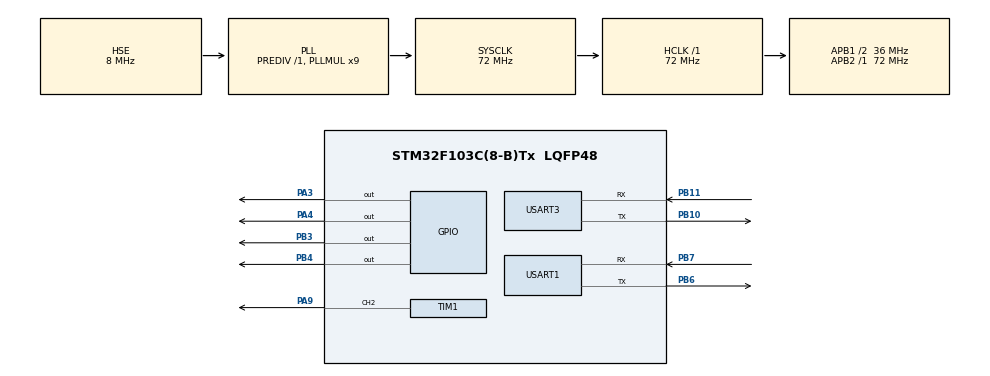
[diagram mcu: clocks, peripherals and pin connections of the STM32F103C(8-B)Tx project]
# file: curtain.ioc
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Dma.Request0=USART3_RX
Dma.Request1=USART3_TX
Dma.Request2=USART1_RX
Dma.Request3=USART1_TX
Dma.USART1_RX.2.Direction=DMA_PERIPH_TO_MEMORY
Dma.USART1_RX.2.Instance=DMA1_Channel5
Dma.USART1_RX.2.MemDataAlignment=DMA_MDATAALIGN_BYTE
Dma.USART1_RX.2.MemInc=DMA_MINC_ENABLE
Dma.USART1_RX.2.Mode=DMA_CIRCULAR
Dma.USART1_RX.2.PeriphDataAlignment=DMA_PDATAALIGN_BYTE
Dma.USART1_RX.2.PeriphInc=DMA_PINC_DISABLE
Dma.USART1_RX.2.Priority=DMA_PRIORITY_LOW
Dma.USART1_TX.3.Direction=DMA_MEMORY_TO_PERIPH
Dma.USART1_TX.3.Instance=DMA1_Channel4
Dma.USART1_TX.3.MemDataAlignment=DMA_MDATAALIGN_BYTE
Dma.USART1_TX.3.MemInc=DMA_MINC_ENABLE
Dma.USART1_TX.3.Mode=DMA_NORMAL
Dma.USART1_TX.3.PeriphDataAlignment=DMA_PDATAALIGN_BYTE
Dma.USART1_TX.3.PeriphInc=DMA_PINC_DISABLE
Dma.USART1_TX.3.Priority=DMA_PRIORITY_LOW
Dma.USART3_RX.0.Direction=DMA_PERIPH_TO_MEMORY
Dma.USART3_RX.0.Instance=DMA1_Channel3
Dma.USART3_RX.0.MemDataAlignment=DMA_MDATAALIGN_BYTE
Dma.USART3_RX.0.MemInc=DMA_MINC_ENABLE
Dma.USART3_RX.0.Mode=DMA_CIRCULAR
Dma.USART3_RX.0.PeriphDataAlignment=DMA_PDATAALIGN_BYTE
Dma.USART3_RX.0.PeriphInc=DMA_PINC_DISABLE
Dma.USART3_RX.0.Priority=DMA_PRIORITY_LOW
Dma.USART3_TX.1.Direction=DMA_MEMORY_TO_PERIPH
Dma.USART3_TX.1.Instance=DMA1_Channel2
Dma.USART3_TX.1.MemDataAlignment=DMA_MDATAALIGN_BYTE
Dma.USART3_TX.1.MemInc=DMA_MINC_ENABLE
Dma.USART3_TX.1.Mode=DMA_NORMAL
Dma.USART3_TX.1.PeriphDataAlignment=DMA_PDATAALIGN_BYTE
Dma.USART3_TX.1.PeriphInc=DMA_PINC_DISABLE
Dma.USART3_TX.1.Priority=DMA_PRIORITY_LOW
Mcu.Family=STM32F1
Mcu.Name=STM32F103C(8-B)Tx
Mcu.Package=LQFP48
NVIC.DMA1_Channel2_IRQn=true\:0\:0\:false\:false\:true\:false\:true
NVIC.DMA1_Channel3_IRQn=true\:0\:0\:false\:false\:true\:false\:true
NVIC.DMA1_Channel4_IRQn=true\:0\:0\:false\:false\:true\:false\:true
NVIC.DMA1_Channel5_IRQn=true\:0\:0\:false\:false\:true\:false\:true
NVIC.PriorityGroup=NVIC_PRIORITYGROUP_4
NVIC.TIM1_BRK_IRQn=true\:0\:0\:false\:false\:true\:true\:true
NVIC.TIM1_CC_IRQn=true\:0\:0\:false\:false\:true\:true\:true
NVIC.TIM1_TRG_COM_IRQn=true\:0\:0\:false\:false\:true\:true\:true
NVIC.TIM1_UP_IRQn=true\:0\:0\:false\:false\:true\:true\:true
NVIC.USART1_IRQn=true\:1\:0\:true\:false\:true\:true\:true
NVIC.USART3_IRQn=true\:2\:0\:true\:false\:true\:true\:true
PA13.Mode=Serial_Wire
PA13.Signal=SYS_JTMS-SWDIO
PA14.Mode=Serial_Wire
PA14.Signal=SYS_JTCK-SWCLK
PA3.Signal=GPIO_Output
PA4.Signal=GPIO_Output
PA9.Signal=S_TIM1_CH2
PB10.Mode=Asynchronous
PB10.Signal=USART3_TX
PB11.Mode=Asynchronous
PB11.Signal=USART3_RX
PB3.PinState=GPIO_PIN_SET
PB3.Signal=GPIO_Output
PB4.PinState=GPIO_PIN_SET
PB4.Signal=GPIO_Output
PB6.Mode=Asynchronous
PB6.Signal=USART1_TX
PB7.Mode=Asynchronous
PB7.Signal=USART1_RX
PD0-OSC_IN.Mode=HSE-External-Oscillator
PD0-OSC_IN.Signal=RCC_OSC_IN
PD1-OSC_OUT.Mode=HSE-External-Oscillator
PD1-OSC_OUT.Signal=RCC_OSC_OUT
ProjectManager.HeapSize=0x200
ProjectManager.StackSize=0x400
ProjectManager.TargetToolchain=STM32CubeIDE
RCC.AHBFreq_Value=72000000
RCC.APB1CLKDivider=RCC_HCLK_DIV2
RCC.APB1Freq_Value=36000000
RCC.APB1TimFreq_Value=72000000
RCC.APB2Freq_Value=72000000
RCC.APB2TimFreq_Value=72000000
RCC.HCLKFreq_Value=72000000
RCC.PLLMUL=RCC_PLL_MUL9
RCC.PLLSourceVirtual=RCC_PLLSOURCE_HSE
RCC.SYSCLKFreq_VALUE=72000000
RCC.SYSCLKSource=RCC_SYSCLKSOURCE_PLLCLK
RCC.USBFreq_Value=72000000
SH.S_TIM1_CH2.0=TIM1_CH2,PWM Generation2 CH2
TIM1.Channel-PWM\ Generation2\ CH2=TIM_CHANNEL_2
TIM1.Period=100-1
TIM1.Prescaler=900-1
USART1.VirtualMode=VM_ASYNC
USART3.VirtualMode=VM_ASYNC
VP_TIM1_VS_ClockSourceINT.Mode=Internal
board=custom

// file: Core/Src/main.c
/* USER CODE BEGIN Header */
/**
  ******************************************************************************
  * @file           : main.c
  * @brief          : Main program body
  ******************************************************************************
  * @attention
  *
  * <h2><center>&copy; Copyright (c) 2020 STMicroelectronics.
  * All rights reserved.</center></h2>
  *
  * This software component is licensed by ST under BSD 3-Clause license,
  * the "License"; You may not use this file except in compliance with the
  * License. You may obtain a copy of the License at:
  *                        opensource.org/licenses/BSD-3-Clause
  *
  ******************************************************************************
  */
/* USER CODE END Header */

#include "main.h"

/* USER CODE BEGIN Includes */
#include "stdio.h"
#include "math.h"
/* USER CODE END Includes */

/* USER CODE BEGIN PD */

// 定义预分频后的频率
#define PRESCALER_FREQ 80000

// 用于串口输出到ZigBee的数组的大小
#define UART_ZB_BUF_SIZE 10
// 用于串口输出到Log的数组大小
#define UART_LOG_BUF_SIZE 128

// ZigBee 发送数据长度
#define ZB_SEND_DATA_LEN 8
// ZigBee 接收数据长度
#define ZB_RECEIVE_DATA_LEN 5

// 串口输出到ZigBee，DMA方式
#define sendToZBByDMA(...) HAL_UART_Transmit_DMA(&huart1,\
										(uint8_t*)uart_ZB_buf,\
										sprintf(uart_ZB_buf, __VA_ARGS__))
// 串口输出到ZigBee，IT方式
#define sendToZBByIT(...) HAL_UART_Transmit_IT(&huart1,\
										(uint8_t*)uart_ZB_buf,\
										sprintf(uart_ZB_buf, __VA_ARGS__))
// 串口输出到Log，DMA方式
#define sendToLogByDMA(...) HAL_UART_Transmit_DMA(&huart3,\
										(uint8_t*)uart_log_buf,\
										sprintf(uart_log_buf, __VA_ARGS__))
// 串口输出到Log，IT方式
#define sendToLogByIT(...) HAL_UART_Transmit_IT(&huart3,\
										(uint8_t*)uart_log_buf,\
										sprintf(uart_log_buf, __VA_ARGS__))
/* USER CODE END PD */

TIM_HandleTypeDef htim1;

UART_HandleTypeDef huart1;
UART_HandleTypeDef huart3;
DMA_HandleTypeDef hdma_usart1_rx;
DMA_HandleTypeDef hdma_usart1_tx;
DMA_HandleTypeDef hdma_usart3_rx;
DMA_HandleTypeDef hdma_usart3_tx;

/* USER CODE BEGIN PV */

// 设备地址
const char DEVICE_ADDRESS = 'd';
// 设备类型
const char DEVICE_TYPE = 'c';
// 配对码
const char DEVICE_PAIR = 'o';

const uint8_t FULL_CIRCLE = 52;

// 上次执行的命令代码
char cmd_idx = 0;

// 指示窗帘的状态
char status = 'a';

char sce[3] = {'b'};

// 用于输出指定数量的pwm波
uint32_t pwm_counter = 0;
// 用于指定当前输出的pwm的数量
uint32_t pwm_counter_idx = 0;
// 用于指示步进电机工作状态
uint8_t motor_on = 0;

// ZigBee接收到数据的标志
uint8_t is_ZB_rec = 0;
// ZigBee接收数据缓存
uint8_t ZB_rec_buf[ZB_RECEIVE_DATA_LEN];

// 用于串口输出到ZigBee的数组的大小
char uart_ZB_buf[UART_ZB_BUF_SIZE];
char zb_send[UART_ZB_BUF_SIZE];

// 用于串口输出到Log的数组
char uart_log_buf[UART_LOG_BUF_SIZE];

/* USER CODE END PV */

void SystemClock_Config(void);
static void MX_GPIO_Init(void);
static void MX_DMA_Init(void);
static void MX_TIM1_Init(void);
static void MX_USART1_UART_Init(void);
static void MX_USART3_UART_Init(void);
/* USER CODE BEGIN PFP */
uint8_t stepper_motor_contoler(uint8_t enable, uint8_t direction, uint16_t distance, uint8_t frequence);
void copyMat(uint8_t *a, uint8_t *b, uint8_t len);

/* USER CODE END PFP */

/* USER CODE BEGIN 0 */

/**
 * 步进电机的驱动设置为4细分，即每800个波形电机转一圈，TIM1的频率为72MHz,Prescaler为900-1,则分频后频率为80KHz
 *
 * @Param: enable: 电机是否允许空转，取0时不允许，取1时允许
 * @Param: direction: 取0时正转，取1时反转
 * @Param: distance: 电机总共转的半圈数
 * @Param: frequence: 电机转动频率，可取1-100，为了准确最好取可以被100整除的数字, 1代表半圈
 *
 * @Return: 0-没走， 1-开始走
 */
uint8_t stepper_motor_contoler(uint8_t enable, uint8_t direction, uint16_t distance, uint8_t frequence){
	if(distance == 0){
		return 0;
	}
	motor_on = 1;
	pwm_counter_idx = 0;
	// 控制点击是否允许空转
	if(enable == 0){
		HAL_GPIO_WritePin(GPIOA, GPIO_PIN_3, GPIO_PIN_SET);
	}else{
		HAL_GPIO_WritePin(GPIOA, GPIO_PIN_3, GPIO_PIN_RESET);
	}
	// 控制电机正转或反转
	if(direction == 0){
		HAL_GPIO_WritePin(GPIOA, GPIO_PIN_4, GPIO_PIN_SET);
	}else{
		HAL_GPIO_WritePin(GPIOA, GPIO_PIN_4, GPIO_PIN_RESET);
	}
	uint8_t reg_freq = 0;
	// reg_freq = 100 / frequecne;
	reg_freq = 200 / frequence;
	// 控制步进电机的转速
	TIM1->ARR = reg_freq-1;
	TIM1->CCR2 = (uint8_t)(reg_freq * 0.5);

	// 由上述可知，计时器的频率为 80K/reg_freq，则步进电机共走的圈数为T*frequence，同时n = T * f = T * 80K / ( 100 / frequence)
	// 控制电机走的圈数
	pwm_counter = distance * 200;
	// pwm_counter = distance * 800;

	// 开启时钟中断
	if(HAL_OK != HAL_TIM_Base_Start_IT(&htim1))
		Error_Handler();

	// 开启电机的PWM输出
	if(HAL_OK != HAL_TIM_PWM_Start(&htim1, TIM_CHANNEL_2))
		Error_Handler();

	return 1;
}

// 复制数组
void copyMat(uint8_t *a, uint8_t *b, uint8_t len){
	for(int i = 0; i< len; i++){
		b[i] = a[i];
	}
}

/* USER CODE END 0 */

int main(void)
{

  /* MCU Configuration--------------------------------------------------------*/

  /* Reset of all peripherals, Initializes the Flash interface and the Systick. */
  HAL_Init();

  /* Configure the system clock */
  SystemClock_Config();

  /* Initialize all configured peripherals */
  MX_GPIO_Init();
  MX_DMA_Init();
  MX_TIM1_Init();
  MX_USART1_UART_Init();
  MX_USART3_UART_Init();
  /* USER CODE BEGIN 2 */

  // 串口1使用DMA方式循环接收数据
  HAL_UART_Receive_DMA(&huart1,\
		  	  	  	   ZB_rec_buf,\
  					   ZB_RECEIVE_DATA_LEN);

  sendToLogByDMA("init curtain\n");
  HAL_Delay(50);
  sendToLogByDMA("%c\n", DEVICE_ADDRESS);
  /* USER CODE END 2 */

  /* Infinite loop */
  /* USER CODE BEGIN WHILE */
  uint8_t zb_cache[ZB_RECEIVE_DATA_LEN] = {0};
  while (1)
  {
	  // ZigBee接收到指令
	  if(is_ZB_rec == 1){
		  // sendToLogByDMA("zb get data! %c, %c, %c, %c, %c\n", ZB_rec_buf[0], ZB_rec_buf[1], ZB_rec_buf[2], ZB_rec_buf[3], ZB_rec_buf[4]);
		  // HAL_Delay(50);
		  // 将指令复制到cache
	  	  copyMat(ZB_rec_buf, zb_cache, ZB_RECEIVE_DATA_LEN);
	  	  is_ZB_rec = 0;
	  	  // 若已近处理则抛弃
	  	  if(zb_cache[1] == cmd_idx){
	  		  continue;
	  	  }else{
	  		  cmd_idx = zb_cache[1];
			  // sendToLogByDMA("zb get data!\n");
			  // HAL_Delay(50);
	  		  // 处理指令，配对
	  		  if(zb_cache[2] == 'a'){
	  			  if((DEVICE_PAIR == zb_cache[3]) && (DEVICE_TYPE == zb_cache[4])){
	  				  zb_send[2] = 'T';
	  			  }else{
	  				  zb_send[2] = 'F';
	  			  }
	  			  zb_send[0] = DEVICE_ADDRESS;
	  			  zb_send[1] = cmd_idx;
	  			  zb_send[3] = '|';
				  sendToLogByDMA("zb send data!\n");
				  HAL_Delay(50);
	  			  sendToZBByDMA(zb_send);
	  		  // 处理指令，控制窗帘的状态
	  		  }else if(zb_cache[2] == 'o'){
	  			  uint8_t circle = 0;
	  			  uint8_t dir = 0;
	  			  // 全部打开
	  			  if(zb_cache[3] == 'a'){
	  				  dir = 0;
	  				  if(status == 'a'){
	  					  circle = 0;
	  				  }else if(status == 'c'){
	  					  circle = FULL_CIRCLE/2;
	  				  }else if(status == 'e'){
	  					  circle = FULL_CIRCLE;
	  				  }
	  				  status = 'a';
	  			  // 打开一半
	  			  }else if(zb_cache[3] == 'c'){
	  				  if(status == 'a'){
	  					  circle = FULL_CIRCLE/2;
	  					  dir = 1;
	  				  }else if(status == 'c'){
	  					  circle = 0;
	  					  dir = 0;
	  				  }else if(status == 'e'){
	  					  circle = FULL_CIRCLE/2;
	  					  dir = 0;
	  				  }
	  				  status = 'c';
	  			  // 全部关闭
	  			  }else if(zb_cache[3] == 'e'){
	  				  dir = 1;
	  				  if(status == 'a'){
	  					  circle = FULL_CIRCLE;
	  				  }else if(status == 'c'){
	  					  circle = FULL_CIRCLE/2;
	  				  }else if(status == 'e'){
	  					  circle = 0;
	  				  }
	  				  status = 'e';
	  			  }
	  			  stepper_motor_contoler(1, dir, circle, 1);
	  			  zb_send[0] = DEVICE_ADDRESS;
	  			  zb_send[1] = cmd_idx;
	  			  zb_send[2] = 'T';
	  			  zb_send[3] = '|';
	  			  sendToZBByDMA(zb_send);
	  			  HAL_Delay(100);
	  			  // sendToLogByDMA("montor go %d, %d, %s\n", dir, circle, zb_send);
	  		  // 处理指令，返回窗帘的状态
	  		  }else if(zb_cache[2] == 'p'){
	  			  zb_send[0] = DEVICE_ADDRESS;
	  			  zb_send[1] = cmd_idx;
	  			  zb_send[2] = status;
	  			  zb_send[3] = '|';
	  			  sendToZBByDMA(zb_send);
	  		  // 处理指令，控制窗帘的场景
	  		  }else if(zb_cache[2] == 'q'){
	  			  if((zb_cache[3] == 'z') && (zb_cache[4] == 'c')){
		  			  zb_send[0] = DEVICE_ADDRESS;
		  			  zb_send[1] = cmd_idx;
		  			  zb_send[2] = sce[0];
		  			  zb_send[3] = sce[1];
		  			  zb_send[4] = sce[2];
		  			  zb_send[5] = '|';
		  			  sendToZBByDMA(zb_send);
	  			  }else{
	  				  if(zb_cache[3] == 'a'){
	  					  sce[0] = zb_cache[4];
	  				  }else if(zb_cache[3] == 'b'){
	  					  sce[1] = zb_cache[4];
	  				  }else if(zb_cache[3] == 'c'){
	  					  sce[2] = zb_cache[4];
	  				  }
		  			  zb_send[0] = DEVICE_ADDRESS;
		  			  zb_send[1] = cmd_idx;
		  			  zb_send[2] = 'T';
		  			  zb_send[3] = '|';
		  			  sendToZBByDMA(zb_send);
	  			  }
	  		  }
	  	  }
	  }
    /* USER CODE END WHILE */

  }
}

void SystemClock_Config(void)
{
  RCC_OscInitTypeDef RCC_OscInitStruct = {0};
  RCC_ClkInitTypeDef RCC_ClkInitStruct = {0};

  /** Initializes the CPU, AHB and APB busses clocks
  */
  RCC_OscInitStruct.OscillatorType = RCC_OSCILLATORTYPE_HSE;
  RCC_OscInitStruct.HSEState = RCC_HSE_ON;
  RCC_OscInitStruct.HSEPredivValue = RCC_HSE_PREDIV_DIV1;
  RCC_OscInitStruct.HSIState = RCC_HSI_ON;
  RCC_OscInitStruct.PLL.PLLState = RCC_PLL_ON;
  RCC_OscInitStruct.PLL.PLLSource = RCC_PLLSOURCE_HSE;
  RCC_OscInitStruct.PLL.PLLMUL = RCC_PLL_MUL9;
  if (HAL_RCC_OscConfig(&RCC_OscInitStruct) != HAL_OK)
  {
    Error_Handler();
  }
  /** Initializes the CPU, AHB and APB busses clocks
  */
  RCC_ClkInitStruct.ClockType = RCC_CLOCKTYPE_HCLK|RCC_CLOCKTYPE_SYSCLK
                              |RCC_CLOCKTYPE_PCLK1|RCC_CLOCKTYPE_PCLK2;
  RCC_ClkInitStruct.SYSCLKSource = RCC_SYSCLKSOURCE_PLLCLK;
  RCC_ClkInitStruct.AHBCLKDivider = RCC_SYSCLK_DIV1;
  RCC_ClkInitStruct.APB1CLKDivider = RCC_HCLK_DIV2;
  RCC_ClkInitStruct.APB2CLKDivider = RCC_HCLK_DIV1;

  if (HAL_RCC_ClockConfig(&RCC_ClkInitStruct, FLASH_LATENCY_2) != HAL_OK)
  {
    Error_Handler();
  }
}

static void MX_TIM1_Init(void)
{

  TIM_ClockConfigTypeDef sClockSourceConfig = {0};
  TIM_MasterConfigTypeDef sMasterConfig = {0};
  TIM_OC_InitTypeDef sConfigOC = {0};
  TIM_BreakDeadTimeConfigTypeDef sBreakDeadTimeConfig = {0};

  htim1.Instance = TIM1;
  htim1.Init.Prescaler = 900-1;
  htim1.Init.CounterMode = TIM_COUNTERMODE_UP;
  htim1.Init.Period = 100-1;
  htim1.Init.ClockDivision = TIM_CLOCKDIVISION_DIV1;
  htim1.Init.RepetitionCounter = 0;
  htim1.Init.AutoReloadPreload = TIM_AUTORELOAD_PRELOAD_DISABLE;
  if (HAL_TIM_Base_Init(&htim1) != HAL_OK)
  {
    Error_Handler();
  }
  sClockSourceConfig.ClockSource = TIM_CLOCKSOURCE_INTERNAL;
  if (HAL_TIM_ConfigClockSource(&htim1, &sClockSourceConfig) != HAL_OK)
  {
    Error_Handler();
  }
  if (HAL_TIM_PWM_Init(&htim1) != HAL_OK)
  {
    Error_Handler();
  }
  sMasterConfig.MasterOutputTrigger = TIM_TRGO_RESET;
  sMasterConfig.MasterSlaveMode = TIM_MASTERSLAVEMODE_DISABLE;
  if (HAL_TIMEx_MasterConfigSynchronization(&htim1, &sMasterConfig) != HAL_OK)
  {
    Error_Handler();
  }
  sConfigOC.OCMode = TIM_OCMODE_PWM1;
  sConfigOC.Pulse = 0;
  sConfigOC.OCPolarity = TIM_OCPOLARITY_HIGH;
  sConfigOC.OCNPolarity = TIM_OCNPOLARITY_HIGH;
  sConfigOC.OCFastMode = TIM_OCFAST_DISABLE;
  sConfigOC.OCIdleState = TIM_OCIDLESTATE_RESET;
  sConfigOC.OCNIdleState = TIM_OCNIDLESTATE_RESET;
  if (HAL_TIM_PWM_ConfigChannel(&htim1, &sConfigOC, TIM_CHANNEL_2) != HAL_OK)
  {
    Error_Handler();
  }
  sBreakDeadTimeConfig.OffStateRunMode = TIM_OSSR_DISABLE;
  sBreakDeadTimeConfig.OffStateIDLEMode = TIM_OSSI_DISABLE;
  sBreakDeadTimeConfig.LockLevel = TIM_LOCKLEVEL_OFF;
  sBreakDeadTimeConfig.DeadTime = 0;
  sBreakDeadTimeConfig.BreakState = TIM_BREAK_DISABLE;
  sBreakDeadTimeConfig.BreakPolarity = TIM_BREAKPOLARITY_HIGH;
  sBreakDeadTimeConfig.AutomaticOutput = TIM_AUTOMATICOUTPUT_DISABLE;
  if (HAL_TIMEx_ConfigBreakDeadTime(&htim1, &sBreakDeadTimeConfig) != HAL_OK)
  {
    Error_Handler();
  }
  HAL_TIM_MspPostInit(&htim1);

}

static void MX_USART1_UART_Init(void)
{

  huart1.Instance = USART1;
  huart1.Init.BaudRate = 115200;
  huart1.Init.WordLength = UART_WORDLENGTH_8B;
  huart1.Init.StopBits = UART_STOPBITS_1;
  huart1.Init.Parity = UART_PARITY_NONE;
  huart1.Init.Mode = UART_MODE_TX_RX;
  huart1.Init.HwFlowCtl = UART_HWCONTROL_NONE;
  huart1.Init.OverSampling = UART_OVERSAMPLING_16;
  if (HAL_UART_Init(&huart1) != HAL_OK)
  {
    Error_Handler();
  }

}

static void MX_USART3_UART_Init(void)
{

  huart3.Instance = USART3;
  huart3.Init.BaudRate = 115200;
  huart3.Init.WordLength = UART_WORDLENGTH_8B;
  huart3.Init.StopBits = UART_STOPBITS_1;
  huart3.Init.Parity = UART_PARITY_NONE;
  huart3.Init.Mode = UART_MODE_TX_RX;
  huart3.Init.HwFlowCtl = UART_HWCONTROL_NONE;
  huart3.Init.OverSampling = UART_OVERSAMPLING_16;
  if (HAL_UART_Init(&huart3) != HAL_OK)
  {
    Error_Handler();
  }

}

static void MX_DMA_Init(void)
{

  /* DMA controller clock enable */
  __HAL_RCC_DMA1_CLK_ENABLE();

  /* DMA interrupt init */
  /* DMA1_Channel2_IRQn interrupt configuration */
  HAL_NVIC_SetPriority(DMA1_Channel2_IRQn, 0, 0);
  HAL_NVIC_EnableIRQ(DMA1_Channel2_IRQn);
  /* DMA1_Channel3_IRQn interrupt configuration */
  HAL_NVIC_SetPriority(DMA1_Channel3_IRQn, 0, 0);
  HAL_NVIC_EnableIRQ(DMA1_Channel3_IRQn);
  /* DMA1_Channel4_IRQn interrupt configuration */
  HAL_NVIC_SetPriority(DMA1_Channel4_IRQn, 0, 0);
  HAL_NVIC_EnableIRQ(DMA1_Channel4_IRQn);
  /* DMA1_Channel5_IRQn interrupt configuration */
  HAL_NVIC_SetPriority(DMA1_Channel5_IRQn, 0, 0);
  HAL_NVIC_EnableIRQ(DMA1_Channel5_IRQn);

}

static void MX_GPIO_Init(void)
{
  GPIO_InitTypeDef GPIO_InitStruct = {0};

  /* GPIO Ports Clock Enable */
  __HAL_RCC_GPIOD_CLK_ENABLE();
  __HAL_RCC_GPIOA_CLK_ENABLE();
  __HAL_RCC_GPIOB_CLK_ENABLE();

  /*Configure GPIO pin Output Level */
  HAL_GPIO_WritePin(GPIOA, GPIO_PIN_3|GPIO_PIN_4, GPIO_PIN_RESET);

  /*Configure GPIO pin Output Level */
  HAL_GPIO_WritePin(GPIOB, GPIO_PIN_3|GPIO_PIN_4, GPIO_PIN_SET);

  /*Configure GPIO pins : PA3 PA4 */
  GPIO_InitStruct.Pin = GPIO_PIN_3|GPIO_PIN_4;
  GPIO_InitStruct.Mode = GPIO_MODE_OUTPUT_PP;
  GPIO_InitStruct.Pull = GPIO_NOPULL;
  GPIO_InitStruct.Speed = GPIO_SPEED_FREQ_LOW;
  HAL_GPIO_Init(GPIOA, &GPIO_InitStruct);

  /*Configure GPIO pins : PB3 PB4 */
  GPIO_InitStruct.Pin = GPIO_PIN_3|GPIO_PIN_4;
  GPIO_InitStruct.Mode = GPIO_MODE_OUTPUT_PP;
  GPIO_InitStruct.Pull = GPIO_NOPULL;
  GPIO_InitStruct.Speed = GPIO_SPEED_FREQ_LOW;
  HAL_GPIO_Init(GPIOB, &GPIO_InitStruct);

}

/* USER CODE BEGIN 4 */
// 定时器中断回调函数
void HAL_TIM_PeriodElapsedCallback(TIM_HandleTypeDef *htim){
	if(htim->Instance == TIM1){
		if(motor_on == 1){
			if(pwm_counter_idx < pwm_counter){
				pwm_counter_idx ++;
			}else{
				motor_on = 0;

				// 关闭电机的PWM输出
				if(HAL_OK != HAL_TIM_PWM_Stop(&htim1, TIM_CHANNEL_2))
					Error_Handler();

				// 关闭时钟中断
				if(HAL_OK != HAL_TIM_Base_Stop_IT(&htim1))
					Error_Handler();
			}
		}
	}
}

// 串口1收到数据的回调函数
void HAL_UART_RxCpltCallback(UART_HandleTypeDef *huart){
	if (huart->Instance == USART1){
		// 若接收方为自己则接收

		if(ZB_rec_buf[0] == DEVICE_ADDRESS){
			is_ZB_rec = 1;
		}
	}
}

/* USER CODE END 4 */

void Error_Handler(void)
{
}

/************************ (C) COPYRIGHT STMicroelectronics *****END OF FILE****/
